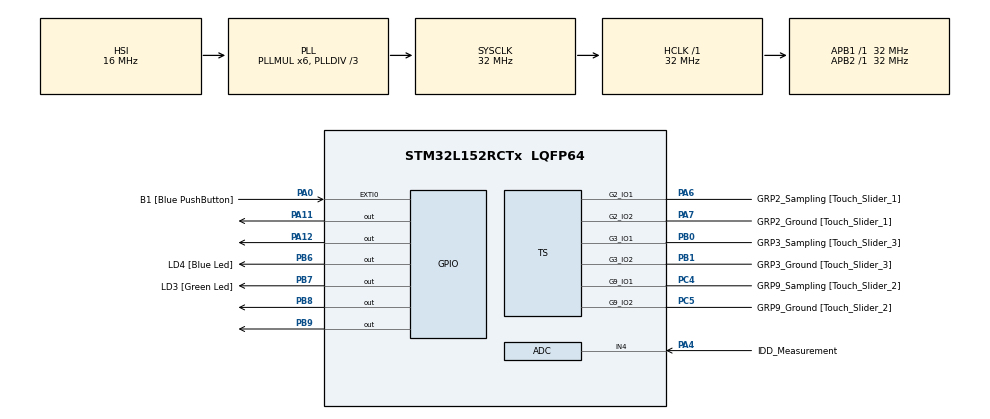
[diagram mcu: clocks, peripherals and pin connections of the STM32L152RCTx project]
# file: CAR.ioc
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ADC.Channel=ADC_CHANNEL_4
ADC.Channel-0\#ChannelRegularConversion=ADC_CHANNEL_4
ADC.Channel-IN4=ADC_CHANNEL_4
ADC.ExternalTrigConv=ADC_EXTERNALTRIGCONV_T2_CC3
ADC.ExternalTrigConv-0\#ChannelRegularConversion=ADC_SOFTWARE_START
ADC.ExternalTrigConvEdge=ADC_EXTERNALTRIGCONVEDGE_RISING
ADC.Rank-0\#ChannelRegularConversion=1
ADC.SamplingTime-0\#ChannelRegularConversion=ADC_SAMPLETIME_4CYCLES
Mcu.Family=STM32L1
Mcu.Name=STM32L152RCTx
Mcu.Package=LQFP64
NVIC.PriorityGroup=NVIC_PRIORITYGROUP_0
PA0-WKUP1.GPIO_Label=B1 [Blue PushButton]
PA0-WKUP1.GPIO_ModeDefaultEXTI=GPIO_MODE_EVT_RISING
PA0-WKUP1.GPIO_PuPd=GPIO_NOPULL
PA0-WKUP1.Signal=GPXTI0
PA1.GPIO_Label=SEG0 [GH08172T_SEG0]
PA1.GPIO_Mode=GPIO_MODE_AF_PP
PA1.GPIO_PuPd=GPIO_NOPULL
PA1.GPIO_Speed=GPIO_SPEED_FREQ_LOW
PA1.Signal=LCD_SEG0
PA10.GPIO_Label=COM2 [GH08172T_COM2]
PA10.GPIO_Mode=GPIO_MODE_AF_PP
PA10.GPIO_PuPd=GPIO_NOPULL
PA10.GPIO_Speed=GPIO_SPEED_FREQ_LOW
PA10.Signal=LCD_COM2
PA11.Signal=GPIO_Output
PA12.Signal=GPIO_Output
PA13.GPIO_Label=SWDIO
PA13.Mode=Serial_Wire
PA13.Signal=SYS_JTMS-SWDIO
PA14.GPIO_Label=SWCLK
PA14.Mode=Serial_Wire
PA14.Signal=SYS_JTCK-SWCLK
PA15.GPIO_Label=SEG12 [GH08172T_SEG12]
PA15.GPIO_Mode=GPIO_MODE_AF_PP
PA15.GPIO_PuPd=GPIO_NOPULL
PA15.GPIO_Speed=GPIO_SPEED_FREQ_LOW
PA15.Signal=LCD_SEG17
PA2.GPIO_Label=SEG1 [GH08172T_SEG1]
PA2.GPIO_Mode=GPIO_MODE_AF_PP
PA2.GPIO_PuPd=GPIO_NOPULL
PA2.GPIO_Speed=GPIO_SPEED_FREQ_LOW
PA2.Signal=LCD_SEG1
PA3.GPIO_Label=SEG2 [GH08172T_SEG2]
PA3.GPIO_Mode=GPIO_MODE_AF_PP
PA3.GPIO_PuPd=GPIO_NOPULL
PA3.GPIO_Speed=GPIO_SPEED_FREQ_LOW
PA3.Signal=LCD_SEG2
PA4.GPIO_Label=IDD_Measurement
PA4.GPIO_Mode=GPIO_MODE_ANALOG
PA4.GPIO_PuPd=GPIO_NOPULL
PA4.Mode=IN4
PA4.Signal=ADC_IN4
PA6.GPIO_Label=GRP2_Sampling [Touch_Slider_1]
PA6.Mode=G2_IO1-Sampling
PA6.Signal=TS_G2_IO1
PA7.GPIO_Label=GRP2_Ground [Touch_Slider_1]
PA7.Mode=G2_IO2-Channel
PA7.Signal=TS_G2_IO2
PA8.GPIO_Label=COM0 [GH08172T_COM0]
PA8.GPIO_Mode=GPIO_MODE_AF_PP
PA8.GPIO_PuPd=GPIO_NOPULL
PA8.GPIO_Speed=GPIO_SPEED_FREQ_LOW
PA8.Signal=LCD_COM0
PA9.GPIO_Label=COM1 [GH08172T_COM1]
PA9.GPIO_Mode=GPIO_MODE_AF_PP
PA9.GPIO_PuPd=GPIO_NOPULL
PA9.GPIO_Speed=GPIO_SPEED_FREQ_LOW
PA9.Signal=LCD_COM1
PB0.GPIO_Label=GRP3_Sampling [Touch_Slider_3]
PB0.Mode=G3_IO1-Sampling
PB0.Signal=TS_G3_IO1
PB1.GPIO_Label=GRP3_Ground [Touch_Slider_3]
PB1.Mode=G3_IO2-Channel
PB1.Signal=TS_G3_IO2
PB10.GPIO_Label=SEG6 [GH08172T_SEG6]
PB10.GPIO_Mode=GPIO_MODE_AF_PP
PB10.GPIO_PuPd=GPIO_NOPULL
PB10.GPIO_Speed=GPIO_SPEED_FREQ_LOW
PB10.Signal=LCD_SEG10
PB11.GPIO_Label=SEG7 [GH08172T_SEG7]
PB11.GPIO_Mode=GPIO_MODE_AF_PP
PB11.GPIO_PuPd=GPIO_NOPULL
PB11.GPIO_Speed=GPIO_SPEED_FREQ_LOW
PB11.Signal=LCD_SEG11
PB12.GPIO_Label=SEG8 [GH08172T_SEG8]
PB12.GPIO_Mode=GPIO_MODE_AF_PP
PB12.GPIO_PuPd=GPIO_NOPULL
PB12.GPIO_Speed=GPIO_SPEED_FREQ_LOW
PB12.Signal=LCD_SEG12
PB13.GPIO_Label=SEG9 [GH08172T_SEG9]
PB13.GPIO_Mode=GPIO_MODE_AF_PP
PB13.GPIO_PuPd=GPIO_NOPULL
PB13.GPIO_Speed=GPIO_SPEED_FREQ_LOW
PB13.Signal=LCD_SEG13
PB14.GPIO_Label=SEG10 [GH08172T_SEG10]
PB14.GPIO_Mode=GPIO_MODE_AF_PP
PB14.GPIO_PuPd=GPIO_NOPULL
PB14.GPIO_Speed=GPIO_SPEED_FREQ_LOW
PB14.Signal=LCD_SEG14
PB15.GPIO_Label=SEG11 [GH08172T_SEG11]
PB15.GPIO_Mode=GPIO_MODE_AF_PP
PB15.GPIO_PuPd=GPIO_NOPULL
PB15.GPIO_Speed=GPIO_SPEED_FREQ_LOW
PB15.Signal=LCD_SEG15
PB3.GPIO_Label=SEG3 [GH08172T_SEG3]
PB3.GPIO_Mode=GPIO_MODE_AF_PP
PB3.GPIO_PuPd=GPIO_NOPULL
PB3.GPIO_Speed=GPIO_SPEED_FREQ_LOW
PB3.Signal=LCD_SEG7
PB4.GPIO_Label=SEG4 [GH08172T_SEG4]
PB4.GPIO_Mode=GPIO_MODE_AF_PP
PB4.GPIO_PuPd=GPIO_NOPULL
PB4.GPIO_Speed=GPIO_SPEED_FREQ_LOW
PB4.Signal=LCD_SEG8
PB5.GPIO_Label=SEG5 [GH08172T_SEG5]
PB5.GPIO_Mode=GPIO_MODE_AF_PP
PB5.GPIO_PuPd=GPIO_NOPULL
PB5.GPIO_Speed=GPIO_SPEED_FREQ_LOW
PB5.Signal=LCD_SEG9
PB6.GPIO_Label=LD4 [Blue Led]
PB6.GPIO_ModeDefaultOutputPP=GPIO_MODE_OUTPUT_PP
PB6.GPIO_PuPd=GPIO_NOPULL
PB6.GPIO_Speed=GPIO_SPEED_FREQ_LOW
PB6.Signal=GPIO_Output
PB7.GPIO_Label=LD3 [Green Led]
PB7.GPIO_ModeDefaultOutputPP=GPIO_MODE_OUTPUT_PP
PB7.GPIO_PuPd=GPIO_NOPULL
PB7.GPIO_Speed=GPIO_SPEED_FREQ_LOW
PB7.Signal=GPIO_Output
PB8.Signal=GPIO_Output
PB9.Signal=GPIO_Output
PC0.GPIO_Label=SEG14 [GH08172T_SEG14]
PC0.GPIO_Mode=GPIO_MODE_AF_PP
PC0.GPIO_PuPd=GPIO_NOPULL
PC0.GPIO_Speed=GPIO_SPEED_FREQ_LOW
PC0.Signal=LCD_SEG18
PC1.GPIO_Label=SEG15 [GH08172T_SEG15]
PC1.GPIO_Mode=GPIO_MODE_AF_PP
PC1.GPIO_PuPd=GPIO_NOPULL
PC1.GPIO_Speed=GPIO_SPEED_FREQ_LOW
PC1.Signal=LCD_SEG19
PC10.GPIO_Label=SEG22 [GH08172T_SEG22]
PC10.GPIO_Mode=GPIO_MODE_AF_PP
PC10.GPIO_PuPd=GPIO_NOPULL
PC10.GPIO_Speed=GPIO_SPEED_FREQ_LOW
PC10.Signal=LCD_SEG28
PC11.GPIO_Label=SEG23 [GH08172T_SEG23]
PC11.GPIO_Mode=GPIO_MODE_AF_PP
PC11.GPIO_PuPd=GPIO_NOPULL
PC11.GPIO_Speed=GPIO_SPEED_FREQ_LOW
PC11.Signal=LCD_SEG29
PC14-OSC32_IN.GPIO_Label=PC14-OSC32_IN
PC14-OSC32_IN.Mode=LSE-External-Oscillator
PC14-OSC32_IN.Signal=RCC_OSC32_IN
PC15-OSC32_OUT.GPIO_Label=PC15-OSC32_OUT
PC15-OSC32_OUT.Mode=LSE-External-Oscillator
PC15-OSC32_OUT.Signal=RCC_OSC32_OUT
PC2.GPIO_Label=SEG16 [GH08172T_SEG16]
PC2.GPIO_Mode=GPIO_MODE_AF_PP
PC2.GPIO_PuPd=GPIO_NOPULL
PC2.GPIO_Speed=GPIO_SPEED_FREQ_LOW
PC2.Signal=LCD_SEG20
PC3.GPIO_Label=SEG17 [GH08172T_SEG17]
PC3.GPIO_Mode=GPIO_MODE_AF_PP
PC3.GPIO_PuPd=GPIO_NOPULL
PC3.GPIO_Speed=GPIO_SPEED_FREQ_LOW
PC3.Signal=LCD_SEG21
PC4.GPIO_Label=GRP9_Sampling [Touch_Slider_2]
PC4.Mode=G9_IO1-Sampling
PC4.Signal=TS_G9_IO1
PC5.GPIO_Label=GRP9_Ground [Touch_Slider_2]
PC5.Mode=G9_IO2-Channel
PC5.Signal=TS_G9_IO2
PC6.GPIO_Label=SEG18 [GH08172T_SEG18]
PC6.GPIO_Mode=GPIO_MODE_AF_PP
PC6.GPIO_PuPd=GPIO_NOPULL
PC6.GPIO_Speed=GPIO_SPEED_FREQ_LOW
PC6.Signal=LCD_SEG24
PC7.GPIO_Label=SEG19 [GH08172T_SEG19]
PC7.GPIO_Mode=GPIO_MODE_AF_PP
PC7.GPIO_PuPd=GPIO_NOPULL
PC7.GPIO_Speed=GPIO_SPEED_FREQ_LOW
PC7.Signal=LCD_SEG25
PC8.GPIO_Label=SEG20 [GH08172T_SEG20]
PC8.GPIO_Mode=GPIO_MODE_AF_PP
PC8.GPIO_PuPd=GPIO_NOPULL
PC8.GPIO_Speed=GPIO_SPEED_FREQ_LOW
PC8.Signal=LCD_SEG26
PC9.GPIO_Label=SEG21 [GH08172T_SEG21]
PC9.GPIO_Mode=GPIO_MODE_AF_PP
PC9.GPIO_PuPd=GPIO_NOPULL
PC9.GPIO_Speed=GPIO_SPEED_FREQ_LOW
PC9.Signal=LCD_SEG27
ProjectManager.HeapSize=0x200
ProjectManager.StackSize=0x400
ProjectManager.TargetToolchain=STM32CubeIDE
RCC.48MHZClocksFreq_Value=48000000
RCC.AHBFreq_Value=32000000
RCC.APB1Freq_Value=32000000
RCC.APB1TimFreq_Value=32000000
RCC.APB2Freq_Value=32000000
RCC.APB2TimFreq_Value=32000000
RCC.HCLKFreq_Value=32000000
RCC.HSE_VALUE=8000000
RCC.HSI_VALUE=16000000
RCC.MSI_VALUE=2097000
RCC.PLLDIV=RCC_PLL_DIV3
RCC.PLLMUL=RCC_PLL_MUL6
RCC.RTCClockSelectionVirtual=RCC_RTCCLKSOURCE_LSE
RCC.SYSCLKFreq_VALUE=32000000
RCC.SYSCLKSource=RCC_SYSCLKSOURCE_PLLCLK
RCC.USBOutput=48000000
RCC.VCOOutputFreq_Value=96000000
board=STM32L152C-DISCO

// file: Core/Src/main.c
/* USER CODE BEGIN Header */
/**
  ******************************************************************************
  * @file           : main.c
  * @brief          : Main program body
  ******************************************************************************
  * @attention
  *
  * Copyright (c) 2023 STMicroelectronics.
  * All rights reserved.
  *
  * This software is licensed under terms that can be found in the LICENSE file
  * in the root directory of this software component.
  * If no LICENSE file comes with this software, it is provided AS-IS.
  *
  ******************************************************************************
  */
/* USER CODE END Header */
#include "main.h"

/* USER CODE BEGIN Includes */
#include "stm32l152c_discovery.h"
#include "Utiles_SDM.h"

/* USER CODE END Includes */

ADC_HandleTypeDef hadc;

void SystemClock_Config(void);
static void MX_GPIO_Init(void);
static void MX_ADC_Init(void);
static void MX_TS_Init(void);

int main(void)
{

  /* MCU Configuration--------------------------------------------------------*/

  /* Reset of all peripherals, Initializes the Flash interface and the Systick. */
  HAL_Init();

  /* Configure the system clock */
  SystemClock_Config();

  /* Initialize all configured peripherals */
  MX_GPIO_Init();
  MX_ADC_Init();
  MX_TS_Init();
  /* USER CODE BEGIN 2 */

  //iniciar los pins en input ////////////////////////////////////////////////////////////////////////////////////

  //PB8- as digital output
  GPIOB -> MODER &= ~(1 << (8*2+1)); //coloco un 0
  GPIOB -> MODER |= (1 << (8*2)); // coloco un 1

  //PA11- as digital output
  GPIOA -> MODER &= ~(1 << (11*2+1)); //coloco un 0
  GPIOA -> MODER |= (1 << (11*2)); // coloco un 1

  //PB9- as digital output
  GPIOB -> MODER &= ~(1 << (9*2+1)); //coloco un 0
  GPIOB -> MODER |= (1 << (9*2)); // coloco un 1

   //PA12- as digital output
   GPIOA -> MODER &= ~(1 << (12*2+1)); //coloco un 0
   GPIOA -> MODER |= (1 << (12*2)); // coloco un 1

  /* USER CODE END 2 */

  /* Infinite loop */
  /* USER CODE BEGIN WHILE */
  while (1)
  {

////////////////////////////////////////////////////////////////////////////////////////////////////////////////////////////////////////////////////
//CONTINUOS FUNCTIONALITY, USING BSRR Y FUNCTION ESPERA

//FUNCION PARA QUE DURE 2SEGUNDOS ROTANDO EN UNA DIRECCION

    /* MOTORES ALANTE */ //1 0

    //N1 is 1 and N2 is 0 - rotates in one direction
    GPIOB -> BSRR = (1<<8); //ponemos un 1
    GPIOA -> BSRR = (1<<11)<<16; //ponemos un 0

    //N3 is 1 and N4 is 0 - rotates in one direction
    GPIOB -> BSRR = (1<<9);
    GPIOA -> BSRR = (1<<12)<<16;

    espera(3000000); //TIENE QUE DURAR EL MOVIMIENTO 2SEG

  //TIENE QUE ESPERAR UN SEGUNDO HASTA SIGUIENTE MOVIMIENTO, PONER TODO A 0 PARA QUE PARE

    //N1 is 0 and N2 is 0 - NO rotates
    GPIOB -> BSRR = (1<<8)<<16; //ponemos 0
    GPIOA -> BSRR = (1<<11)<<16; //ponemos 0

    //N3 is 0 and N4 is 0 - NO rotates
    GPIOB -> BSRR = (1<<9)<<16;
    GPIOA -> BSRR = (1<<12)<<16;

    espera(2000000); //TIENE QUE DURAR EL NO MOVIMIENTO 1SEG

//FUNCION PARA QUE DURE 2SEGUNDOS ROTANDO EN LA OTRA DIRECCION

    /*MOTORES ATRAS*/ //0 1

    //N1 is 0 and N2 is 1 - rotates in opposite direction
    GPIOB -> BSRR = (1<<8)<<16; //ponemos 0
    GPIOA -> BSRR = (1<<11); //ponemos 1

    //N3 is 0 and N4 is 1 - rotates in opposite direction
    GPIOB -> BSRR = (1<<9)<<16;
    GPIOA -> BSRR = (1<<12);

    espera(3000000); //TIENE QUE DURAR EL MOVIMIENTO 2SEG

//PONER TODO A 0 DURANTE UN SEGUNDO PARA QUE PARE

    //N1 is 0 and N2 is 0 - NO rotates
    GPIOB -> BSRR = (1<<8)<<16;
    GPIOA -> BSRR = (1<<11)<<16;

    //N3 is 0 and N4 is 0 - NO rotates
    GPIOB -> BSRR = (1<<9)<<16;
    GPIOA -> BSRR = (1<<12)<<16;

    espera(2000000); //TIENE QUE DURAR EL NO MOVIMIENTO 1SEG

/////////////////////////////////////////////////////////////////////////////////////////////////////////////////////

    /* USER CODE END WHILE */

  }
}

void SystemClock_Config(void)
{
  RCC_OscInitTypeDef RCC_OscInitStruct = {0};
  RCC_ClkInitTypeDef RCC_ClkInitStruct = {0};

  /** Configure the main internal regulator output voltage
  */
  __HAL_PWR_VOLTAGESCALING_CONFIG(PWR_REGULATOR_VOLTAGE_SCALE1);

  /** Initializes the RCC Oscillators according to the specified parameters
  * in the RCC_OscInitTypeDef structure.
  */
  RCC_OscInitStruct.OscillatorType = RCC_OSCILLATORTYPE_HSI;
  RCC_OscInitStruct.HSIState = RCC_HSI_ON;
  RCC_OscInitStruct.HSICalibrationValue = RCC_HSICALIBRATION_DEFAULT;
  RCC_OscInitStruct.PLL.PLLState = RCC_PLL_ON;
  RCC_OscInitStruct.PLL.PLLSource = RCC_PLLSOURCE_HSI;
  RCC_OscInitStruct.PLL.PLLMUL = RCC_PLL_MUL6;
  RCC_OscInitStruct.PLL.PLLDIV = RCC_PLL_DIV3;
  if (HAL_RCC_OscConfig(&RCC_OscInitStruct) != HAL_OK)
  {
    Error_Handler();
  }

  /** Initializes the CPU, AHB and APB buses clocks
  */
  RCC_ClkInitStruct.ClockType = RCC_CLOCKTYPE_HCLK|RCC_CLOCKTYPE_SYSCLK
                              |RCC_CLOCKTYPE_PCLK1|RCC_CLOCKTYPE_PCLK2;
  RCC_ClkInitStruct.SYSCLKSource = RCC_SYSCLKSOURCE_PLLCLK;
  RCC_ClkInitStruct.AHBCLKDivider = RCC_SYSCLK_DIV1;
  RCC_ClkInitStruct.APB1CLKDivider = RCC_HCLK_DIV1;
  RCC_ClkInitStruct.APB2CLKDivider = RCC_HCLK_DIV1;

  if (HAL_RCC_ClockConfig(&RCC_ClkInitStruct, FLASH_LATENCY_1) != HAL_OK)
  {
    Error_Handler();
  }
}

static void MX_ADC_Init(void)
{

  ADC_ChannelConfTypeDef sConfig = {0};

  /** Configure the global features of the ADC (Clock, Resolution, Data Alignment and number of conversion)
  */
  hadc.Instance = ADC1;
  hadc.Init.ClockPrescaler = ADC_CLOCK_ASYNC_DIV1;
  hadc.Init.Resolution = ADC_RESOLUTION_12B;
  hadc.Init.DataAlign = ADC_DATAALIGN_RIGHT;
  hadc.Init.ScanConvMode = ADC_SCAN_DISABLE;
  hadc.Init.EOCSelection = ADC_EOC_SEQ_CONV;
  hadc.Init.LowPowerAutoWait = ADC_AUTOWAIT_DISABLE;
  hadc.Init.LowPowerAutoPowerOff = ADC_AUTOPOWEROFF_DISABLE;
  hadc.Init.ChannelsBank = ADC_CHANNELS_BANK_A;
  hadc.Init.ContinuousConvMode = DISABLE;
  hadc.Init.NbrOfConversion = 1;
  hadc.Init.DiscontinuousConvMode = DISABLE;
  hadc.Init.ExternalTrigConv = ADC_EXTERNALTRIGCONV_T2_CC3;
  hadc.Init.ExternalTrigConvEdge = ADC_EXTERNALTRIGCONVEDGE_RISING;
  hadc.Init.DMAContinuousRequests = DISABLE;
  if (HAL_ADC_Init(&hadc) != HAL_OK)
  {
    Error_Handler();
  }

  /** Configure for the selected ADC regular channel its corresponding rank in the sequencer and its sample time.
  */
  sConfig.Channel = ADC_CHANNEL_4;
  sConfig.Rank = ADC_REGULAR_RANK_1;
  sConfig.SamplingTime = ADC_SAMPLETIME_4CYCLES;
  if (HAL_ADC_ConfigChannel(&hadc, &sConfig) != HAL_OK)
  {
    Error_Handler();
  }

}

static void MX_TS_Init(void)
{

}

static void MX_GPIO_Init(void)
{
  GPIO_InitTypeDef GPIO_InitStruct = {0};

  /* GPIO Ports Clock Enable */
  __HAL_RCC_GPIOC_CLK_ENABLE();
  __HAL_RCC_GPIOA_CLK_ENABLE();
  __HAL_RCC_GPIOB_CLK_ENABLE();

  /*Configure GPIO pin Output Level */
  HAL_GPIO_WritePin(GPIOA, GPIO_PIN_11|GPIO_PIN_12, GPIO_PIN_RESET);

  /*Configure GPIO pin Output Level */
  HAL_GPIO_WritePin(GPIOB, LD4_Pin|LD3_Pin|GPIO_PIN_8|GPIO_PIN_9, GPIO_PIN_RESET);

  /*Configure GPIO pins : SEG14_Pin SEG15_Pin SEG16_Pin SEG17_Pin
                           SEG18_Pin SEG19_Pin SEG20_Pin SEG21_Pin
                           SEG22_Pin SEG23_Pin */
  GPIO_InitStruct.Pin = SEG14_Pin|SEG15_Pin|SEG16_Pin|SEG17_Pin
                          |SEG18_Pin|SEG19_Pin|SEG20_Pin|SEG21_Pin
                          |SEG22_Pin|SEG23_Pin;
  GPIO_InitStruct.Mode = GPIO_MODE_AF_PP;
  GPIO_InitStruct.Pull = GPIO_NOPULL;
  GPIO_InitStruct.Speed = GPIO_SPEED_FREQ_LOW;
  GPIO_InitStruct.Alternate = GPIO_AF11_LCD;
  HAL_GPIO_Init(GPIOC, &GPIO_InitStruct);

  /*Configure GPIO pin : B1_Pin */
  GPIO_InitStruct.Pin = B1_Pin;
  GPIO_InitStruct.Mode = GPIO_MODE_EVT_RISING;
  GPIO_InitStruct.Pull = GPIO_NOPULL;
  HAL_GPIO_Init(B1_GPIO_Port, &GPIO_InitStruct);

  /*Configure GPIO pins : SEG0_Pin SEG1_Pin SEG2_Pin COM0_Pin
                           COM1_Pin COM2_Pin SEG12_Pin */
  GPIO_InitStruct.Pin = SEG0_Pin|SEG1_Pin|SEG2_Pin|COM0_Pin
                          |COM1_Pin|COM2_Pin|SEG12_Pin;
  GPIO_InitStruct.Mode = GPIO_MODE_AF_PP;
  GPIO_InitStruct.Pull = GPIO_NOPULL;
  GPIO_InitStruct.Speed = GPIO_SPEED_FREQ_LOW;
  GPIO_InitStruct.Alternate = GPIO_AF11_LCD;
  HAL_GPIO_Init(GPIOA, &GPIO_InitStruct);

  /*Configure GPIO pins : SEG6_Pin SEG7_Pin SEG8_Pin SEG9_Pin
                           SEG10_Pin SEG11_Pin SEG3_Pin SEG4_Pin
                           SEG5_Pin */
  GPIO_InitStruct.Pin = SEG6_Pin|SEG7_Pin|SEG8_Pin|SEG9_Pin
                          |SEG10_Pin|SEG11_Pin|SEG3_Pin|SEG4_Pin
                          |SEG5_Pin;
  GPIO_InitStruct.Mode = GPIO_MODE_AF_PP;
  GPIO_InitStruct.Pull = GPIO_NOPULL;
  GPIO_InitStruct.Speed = GPIO_SPEED_FREQ_LOW;
  GPIO_InitStruct.Alternate = GPIO_AF11_LCD;
  HAL_GPIO_Init(GPIOB, &GPIO_InitStruct);

  /*Configure GPIO pins : PA11 PA12 */
  GPIO_InitStruct.Pin = GPIO_PIN_11|GPIO_PIN_12;
  GPIO_InitStruct.Mode = GPIO_MODE_OUTPUT_PP;
  GPIO_InitStruct.Pull = GPIO_NOPULL;
  GPIO_InitStruct.Speed = GPIO_SPEED_FREQ_LOW;
  HAL_GPIO_Init(GPIOA, &GPIO_InitStruct);

  /*Configure GPIO pins : LD4_Pin LD3_Pin PB8 PB9 */
  GPIO_InitStruct.Pin = LD4_Pin|LD3_Pin|GPIO_PIN_8|GPIO_PIN_9;
  GPIO_InitStruct.Mode = GPIO_MODE_OUTPUT_PP;
  GPIO_InitStruct.Pull = GPIO_NOPULL;
  GPIO_InitStruct.Speed = GPIO_SPEED_FREQ_LOW;
  HAL_GPIO_Init(GPIOB, &GPIO_InitStruct);

}

void Error_Handler(void)
{
  __disable_irq();
  while (1)
  {
  }
}
